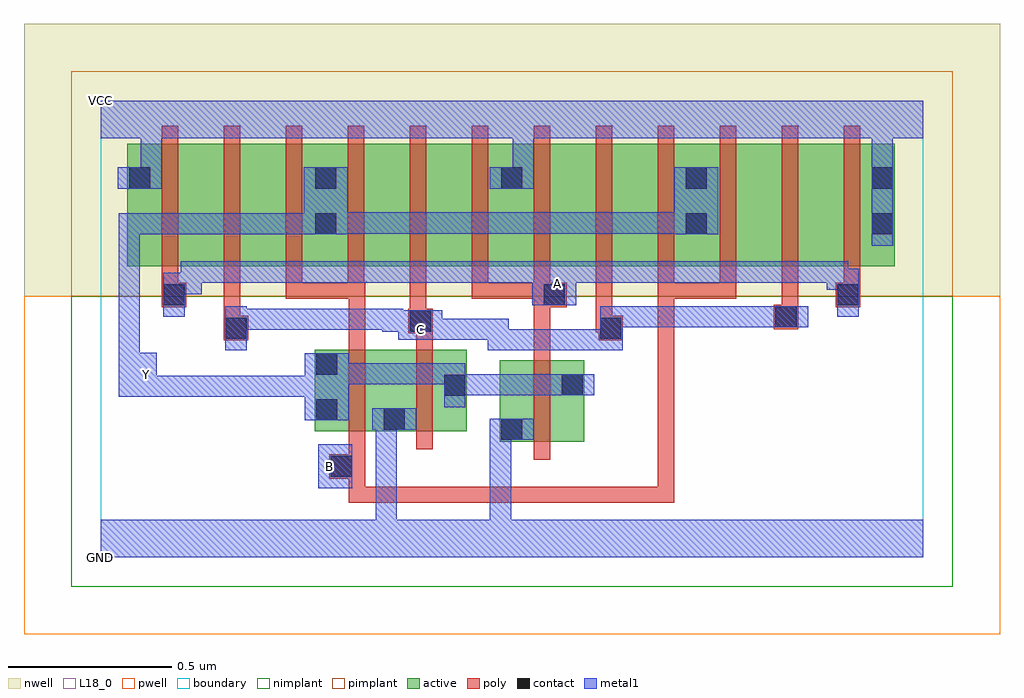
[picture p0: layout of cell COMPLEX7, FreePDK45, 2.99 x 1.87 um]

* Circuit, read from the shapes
.subckt COMPLEX7 A B C GND VCC Y
M1 GND B Y VSUBS nfet w=0.25u l=0.05u
M2 Y C GND VSUBS nfet w=0.25u l=0.05u
M3 Y A GND VSUBS nfet w=0.25u l=0.05u
M4 n1 A VCC n2 pfet w=0.375u l=0.05u
M5 n3 C n1 n2 pfet w=0.375u l=0.05u
M6 Y B n3 n2 pfet w=0.375u l=0.05u
M7 n4 B Y n2 pfet w=0.375u l=0.05u
M8 n5 C n4 n2 pfet w=0.375u l=0.05u
M9 VCC A n5 n2 pfet w=0.375u l=0.05u
M10 n6 A VCC n2 pfet w=0.375u l=0.05u
M11 n7 C n6 n2 pfet w=0.375u l=0.05u
M12 Y B n7 n2 pfet w=0.375u l=0.05u
M13 n8 B Y n2 pfet w=0.375u l=0.05u
M14 n9 C n8 n2 pfet w=0.375u l=0.05u
M15 VCC A n9 n2 pfet w=0.375u l=0.05u
.ends

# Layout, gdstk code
import gdstk
lib = gdstk.Library(unit=1e-6, precision=1e-09)
def R(c, l, rs):  # rectangles x0, y0, x1, y1
    for r in rs: c.add(gdstk.rectangle(r[:2], r[2:], *l))
def A(c, l, x, y, w, h, nx, ny, dx, dy):  # array of equal rectangles
    R(c, l, [(x+i*dx, y+j*dy, x+i*dx+w, y+j*dy+h) for i in range(nx) for j in range(ny)])
active = (1, 0)
pwell = (2, 0)
nwell = (3, 0)
nimplant = (4, 0)
pimplant = (5, 0)
poly = (9, 0)
contact = (10, 0)
metal1 = (11, 0)
L18_0 = (18, 0)
boundary = (235, 0)

complex7 = lib.new_cell('COMPLEX7')
A(complex7, active, 0.082, 0.892, 0.225, 0.375, 3, 1, 0.57, 0)
A(complex7, active, 0.307, 0.892, 0.19, 0.375, 4, 1, 0.57, 0)
R(complex7, active, [(1.222,0.355,1.482,0.605), (1.222,0.355,1.297,0.495), (0.655,0.387,0.73,0.637), (0.655,0.387,0.937,0.637), (0.862,0.387,1.122,0.637), (0.862,0.387,0.937,0.57), (1.047,0.387,1.122,0.637), (1.407,0.395,1.482,0.605), (0.082,0.892,0.157,1.267), (0.497,0.892,0.727,1.267), (1.067,0.892,1.297,1.267), (1.637,0.892,1.862,1.267), (1.787,0.892,2.017,1.267), (2.207,0.892,2.432,1.267), (2.357,0.892,2.432,1.267), (0.652,0.932,0.727,1.2), (1.222,0.932,1.297,1.267), (1.787,0.932,1.862,1.2)])
R(complex7, pwell, [(-0.235,-0.235,2.755,0.8)])
R(complex7, nwell, [(-0.235,0.8,2.755,1.635)])
R(complex7, nimplant, [(-0.09,-0.09,2.61,0.8)])
R(complex7, pimplant, [(-0.09,0.8,2.61,1.49)])
A(complex7, poly, 0.567, 0.792, 0.24, 0.05, 3, 1, 0.57, 0)
A(complex7, poly, 0.187, 0.837, 0.05, 0.485, 12, 1, 0.19, 0)
R(complex7, poly, [(0.76,0.167,1.017,0.217), (0.76,0.167,0.81,0.292), (0.967,0.167,1.017,0.217), (0.967,0.167,1.017,0.217), (0.967,0.167,1.017,0.217), (0.967,0.167,1.15,0.217), (1.1,0.167,1.15,0.217), (1.1,0.167,1.15,0.217), (1.1,0.167,1.15,0.217), (1.1,0.167,1.32,0.217), (1.27,0.167,1.32,0.217), (1.27,0.167,1.32,0.217), (1.27,0.167,1.32,0.217), (1.27,0.167,1.625,0.217), (1.575,0.167,1.625,0.217), (1.575,0.167,1.625,0.217), (1.575,0.167,1.625,0.217), (1.575,0.167,1.625,0.217), (1.575,0.167,1.625,0.217), (1.575,0.167,1.757,0.217), (1.707,0.167,1.757,0.217), (1.707,0.167,1.757,0.217), (1.707,0.167,1.757,0.217), (1.707,0.167,1.757,0.842), (0.7,0.242,0.81,0.317), (0.76,0.242,0.81,0.292), (0.76,0.267,0.81,0.382), (1.327,0.3,1.377,0.66), (0.76,0.332,0.81,0.692), (0.967,0.332,1.017,0.692), (1.327,0.61,1.377,0.817), (0.76,0.642,0.81,0.842), (0.967,0.642,1.017,0.737), (0.377,0.665,0.452,0.74), (1.525,0.665,1.6,0.74), (0.942,0.687,1.017,0.762), (0.377,0.69,0.427,0.74), (0.377,0.69,0.427,0.74), (0.377,0.69,0.427,0.887), (1.517,0.69,1.567,0.887), (1.517,0.69,1.575,0.74), (1.525,0.69,1.575,0.74), (2.062,0.7,2.137,0.775), (0.947,0.712,0.997,0.762), (0.947,0.712,0.997,0.762), (0.947,0.712,0.997,0.887), (2.087,0.725,2.137,0.887), (2.087,0.725,2.137,0.775), (2.087,0.725,2.137,0.775), (0.187,0.767,0.262,0.842), (1.327,0.767,1.377,0.817), (1.327,0.767,1.377,0.817), (1.327,0.767,1.427,0.842), (2.252,0.767,2.327,0.842), (0.187,0.792,0.237,0.887), (0.567,0.792,0.617,0.887), (0.567,0.792,0.617,0.842), (0.567,0.792,0.617,0.842), (0.567,0.792,0.617,0.842), (0.757,0.792,0.807,0.887), (0.757,0.792,0.81,0.842), (0.76,0.792,0.81,0.842), (0.76,0.792,0.81,0.842), (1.137,0.792,1.187,0.887), (1.137,0.792,1.187,0.842), (1.137,0.792,1.187,0.842), (1.137,0.792,1.187,0.842), (1.327,0.792,1.377,0.887), (1.707,0.792,1.757,0.887), (1.707,0.792,1.757,0.842), (1.707,0.792,1.757,0.842), (1.707,0.792,1.757,0.842), (1.897,0.792,1.947,0.887), (1.897,0.792,1.947,0.842), (1.897,0.792,1.947,0.842), (1.897,0.792,1.947,0.842), (2.277,0.792,2.327,0.887)])
A(complex7, contact, 0.087, 1.13, 0.065, 0.065, 3, 1, 0.57, 0)
R(complex7, contact, [(0.705,0.247,0.77,0.312), (1.227,0.36,1.292,0.425), (0.867,0.392,0.932,0.457), (0.66,0.42,0.725,0.485), (1.052,0.495,1.117,0.56), (1.412,0.497,1.477,0.562), (0.66,0.56,0.725,0.625), (0.382,0.67,0.447,0.735), (1.53,0.67,1.595,0.735), (0.947,0.692,1.012,0.757), (2.067,0.705,2.132,0.77), (0.192,0.772,0.257,0.837), (1.357,0.772,1.422,0.837), (2.257,0.772,2.322,0.837), (0.657,0.99,0.722,1.055), (1.792,0.99,1.857,1.055), (2.362,0.99,2.427,1.055), (1.792,1.13,1.857,1.195), (2.362,1.13,2.427,1.195)])
R(complex7, metal1, [(0,0,2.52,0.115), (0.842,0.05,0.907,0.115), (0.842,0.05,0.907,0.115), (0.842,0.05,0.907,0.115), (0.842,0.05,0.907,0.115), (0.842,0.05,0.907,0.115), (0.842,0.05,0.907,0.115), (0.842,0.05,0.907,0.457), (1.192,0.05,1.257,0.115), (1.192,0.05,1.257,0.115), (1.192,0.05,1.257,0.115), (1.192,0.05,1.257,0.115), (1.192,0.05,1.257,0.115), (1.192,0.05,1.257,0.115), (1.192,0.05,1.257,0.425), (0.667,0.212,0.77,0.347), (1.192,0.36,1.327,0.425), (0.832,0.392,0.967,0.457), (0.625,0.42,0.76,0.625), (1.052,0.46,1.117,0.595), (0.055,0.492,0.172,0.627), (0.107,0.492,0.172,0.557), (0.107,0.492,0.172,0.557), (0.107,0.492,0.31,0.557), (0.245,0.492,0.447,0.557), (0.245,0.492,0.31,0.557), (0.245,0.492,0.31,0.557), (0.245,0.492,0.31,0.557), (0.382,0.492,0.447,0.557), (0.382,0.492,0.447,0.557), (0.382,0.492,0.447,0.557), (0.382,0.492,0.595,0.557), (0.53,0.492,0.595,0.557), (0.53,0.492,0.69,0.557), (1.052,0.497,1.25,0.562), (1.185,0.497,1.25,0.562), (1.185,0.497,1.27,0.562), (1.205,0.497,1.27,0.562), (1.205,0.497,1.442,0.562), (1.377,0.497,1.442,0.562), (1.377,0.497,1.442,0.562), (1.377,0.497,1.512,0.562), (0.695,0.53,0.76,0.595), (0.695,0.53,0.76,0.595), (0.695,0.53,0.907,0.595), (0.842,0.53,0.907,0.595), (0.842,0.53,0.907,0.595), (0.842,0.53,0.907,0.595), (0.842,0.53,1.117,0.595), (0.055,0.562,0.12,1.055), (0.382,0.635,0.447,0.77), (1.185,0.635,1.255,0.7), (1.185,0.635,1.25,0.732), (1.19,0.635,1.255,0.7), (1.19,0.635,1.407,0.7), (1.342,0.635,1.407,0.7), (1.342,0.635,1.407,0.7), (1.342,0.635,1.407,0.7), (1.342,0.635,1.595,0.7), (1.53,0.635,1.6,0.77), (0.912,0.667,1.047,0.757), (0.982,0.667,1.117,0.732), (1.052,0.667,1.117,0.732), (1.052,0.667,1.25,0.732), (0.862,0.692,0.977,0.757), (0.862,0.692,0.927,0.762), (0.382,0.697,0.447,0.762), (0.382,0.697,0.447,0.762), (0.382,0.697,0.595,0.762), (0.53,0.697,0.595,0.762), (0.53,0.697,0.76,0.762), (0.695,0.697,0.76,0.762), (0.695,0.697,0.76,0.762), (0.695,0.697,0.76,0.762), (0.695,0.697,0.927,0.762), (1.535,0.705,1.6,0.77), (1.535,0.705,1.6,0.77), (1.535,0.705,1.822,0.77), (1.757,0.705,1.822,0.77), (1.757,0.705,1.822,0.77), (1.757,0.705,1.822,0.77), (1.757,0.705,1.96,0.77), (1.895,0.705,2.097,0.77), (1.895,0.705,1.96,0.77), (1.895,0.705,1.96,0.77), (1.895,0.705,1.96,0.77), (2.032,0.705,2.167,0.77), (0.192,0.737,0.257,0.872), (2.257,0.737,2.322,0.885), (1.322,0.772,1.457,0.907), (0.192,0.807,0.31,0.872), (0.245,0.807,0.31,0.907), (2.225,0.82,2.322,0.885), (2.225,0.82,2.29,0.907), (0.245,0.842,0.447,0.907), (0.382,0.842,0.447,0.907), (0.382,0.842,0.447,0.907), (0.382,0.842,0.447,0.907), (0.382,0.842,0.595,0.907), (0.53,0.842,0.595,0.907), (0.53,0.842,0.76,0.907), (0.695,0.842,0.76,0.907), (0.695,0.842,0.76,0.907), (0.695,0.842,0.76,0.907), (0.695,0.842,0.927,0.907), (0.862,0.842,0.927,0.907), (0.862,0.842,1.112,0.907), (1.047,0.842,1.112,0.907), (1.047,0.842,1.112,0.907), (1.047,0.842,1.112,0.907), (1.047,0.842,1.25,0.907), (1.185,0.842,1.25,0.907), (1.185,0.842,1.255,0.907), (1.19,0.842,1.255,0.907), (1.19,0.842,1.387,0.907), (1.392,0.842,1.457,0.907), (1.392,0.842,1.457,0.907), (1.392,0.842,1.66,0.907), (1.595,0.842,1.797,0.907), (1.595,0.842,1.66,0.907), (1.595,0.842,1.66,0.907), (1.595,0.842,1.66,0.907), (1.732,0.842,1.797,0.907), (1.732,0.842,1.797,0.907), (1.732,0.842,1.797,0.907), (1.732,0.842,1.96,0.907), (1.895,0.842,2.097,0.907), (1.895,0.842,1.96,0.907), (1.895,0.842,1.96,0.907), (1.895,0.842,1.96,0.907), (2.032,0.842,2.29,0.907), (2.032,0.842,2.097,0.907), (2.362,0.955,2.427,1.23), (0.055,0.99,0.12,1.055), (0.055,0.99,0.12,1.055), (0.055,0.99,0.12,1.055), (0.055,0.99,0.12,1.055), (0.055,0.99,0.12,1.055), (0.055,0.99,0.31,1.055), (0.245,0.99,0.31,1.055), (0.245,0.99,0.457,1.055), (0.392,0.99,0.457,1.055), (0.392,0.99,0.457,1.055), (0.392,0.99,0.457,1.055), (0.392,0.99,0.595,1.055), (0.53,0.99,0.595,1.055), (0.53,0.99,0.687,1.055), (0.622,0.99,0.757,1.195), (1.757,0.99,1.892,1.195), (0.692,0.992,0.757,1.057), (0.692,0.992,0.757,1.057), (0.692,0.992,0.927,1.057), (0.862,0.992,0.927,1.057), (0.862,0.992,0.927,1.057), (0.862,0.992,0.927,1.057), (0.862,0.992,1.065,1.057), (1,0.992,1.065,1.057), (1,0.992,1.25,1.057), (1.185,0.992,1.25,1.057), (1.185,0.992,1.27,1.057), (1.205,0.992,1.407,1.057), (1.205,0.992,1.27,1.057), (1.342,0.992,1.407,1.057), (1.342,0.992,1.407,1.057), (1.342,0.992,1.407,1.057), (1.342,0.992,1.595,1.057), (1.53,0.992,1.595,1.057), (1.53,0.992,1.595,1.057), (1.53,0.992,1.595,1.057), (1.53,0.992,1.822,1.057), (1.757,0.992,1.822,1.057), (1.757,0.992,1.822,1.057), (0.052,1.13,0.187,1.195), (0.122,1.13,0.187,1.35), (1.192,1.13,1.327,1.195), (1.262,1.13,1.327,1.35), (2.362,1.165,2.427,1.35), (0,1.285,2.52,1.4)])
R(complex7, L18_0, [(0,0,2.52,0.115), (0.842,0.05,0.907,0.115), (0.842,0.05,0.907,0.115), (0.842,0.05,0.907,0.115), (0.842,0.05,0.907,0.115), (0.842,0.05,0.907,0.115), (0.842,0.05,0.907,0.115), (0.842,0.05,0.907,0.457), (1.192,0.05,1.257,0.115), (1.192,0.05,1.257,0.115), (1.192,0.05,1.257,0.115), (1.192,0.05,1.257,0.115), (1.192,0.05,1.257,0.115), (1.192,0.05,1.257,0.115), (1.192,0.05,1.257,0.425), (0.667,0.212,0.77,0.347), (0.667,0.247,0.732,0.312), (1.192,0.36,1.327,0.425), (0.832,0.392,0.967,0.457), (0.625,0.42,0.76,0.625), (1.052,0.46,1.117,0.595), (0.055,0.492,0.172,0.627), (0.107,0.492,0.172,0.557), (0.107,0.492,0.172,0.557), (0.107,0.492,0.31,0.557), (0.245,0.492,0.31,0.557), (0.245,0.492,0.31,0.557), (0.245,0.492,0.31,0.557), (0.245,0.492,0.447,0.557), (0.382,0.492,0.447,0.557), (0.382,0.492,0.447,0.557), (0.382,0.492,0.447,0.557), (0.382,0.492,0.595,0.557), (0.53,0.492,0.595,0.557), (0.53,0.492,0.69,0.557), (1.052,0.497,1.25,0.562), (1.185,0.497,1.25,0.562), (1.185,0.497,1.27,0.562), (1.205,0.497,1.27,0.562), (1.205,0.497,1.442,0.562), (1.377,0.497,1.442,0.562), (1.377,0.497,1.442,0.562), (1.377,0.497,1.512,0.562), (0.107,0.527,0.172,0.592), (0.695,0.53,0.76,0.595), (0.695,0.53,0.76,0.595), (0.695,0.53,0.907,0.595), (0.842,0.53,0.907,0.595), (0.842,0.53,0.907,0.595), (0.842,0.53,0.907,0.595), (0.842,0.53,1.117,0.595), (0.055,0.562,0.12,1.055), (0.382,0.635,0.447,0.77), (1.185,0.635,1.25,0.732), (1.185,0.635,1.255,0.7), (1.19,0.635,1.255,0.7), (1.19,0.635,1.407,0.7), (1.342,0.635,1.407,0.7), (1.342,0.635,1.407,0.7), (1.342,0.635,1.407,0.7), (1.342,0.635,1.595,0.7), (1.53,0.635,1.6,0.77), (0.912,0.667,1.047,0.757), (0.947,0.667,1.012,0.732), (0.982,0.667,1.117,0.732), (1.052,0.667,1.117,0.732), (1.052,0.667,1.25,0.732), (0.862,0.692,0.927,0.762), (0.862,0.692,0.977,0.757), (0.382,0.697,0.447,0.762), (0.382,0.697,0.447,0.762), (0.382,0.697,0.595,0.762), (0.53,0.697,0.595,0.762), (0.53,0.697,0.76,0.762), (0.695,0.697,0.76,0.762), (0.695,0.697,0.76,0.762), (0.695,0.697,0.76,0.762), (0.695,0.697,0.927,0.762), (1.535,0.705,1.6,0.77), (1.535,0.705,1.6,0.77), (1.535,0.705,1.822,0.77), (1.757,0.705,1.822,0.77), (1.757,0.705,1.822,0.77), (1.757,0.705,1.822,0.77), (1.757,0.705,1.96,0.77), (1.895,0.705,1.96,0.77), (1.895,0.705,1.96,0.77), (1.895,0.705,1.96,0.77), (1.895,0.705,2.097,0.77), (2.032,0.705,2.167,0.77), (0.192,0.737,0.257,0.872), (2.257,0.737,2.322,0.885), (1.322,0.772,1.457,0.907), (0.192,0.807,0.31,0.872), (0.245,0.807,0.31,0.907), (1.367,0.807,1.432,0.872), (2.225,0.82,2.29,0.907), (2.225,0.82,2.322,0.885), (0.245,0.842,0.447,0.907), (0.382,0.842,0.447,0.907), (0.382,0.842,0.447,0.907), (0.382,0.842,0.447,0.907), (0.382,0.842,0.595,0.907), (0.53,0.842,0.595,0.907), (0.53,0.842,0.76,0.907), (0.695,0.842,0.76,0.907), (0.695,0.842,0.76,0.907), (0.695,0.842,0.76,0.907), (0.695,0.842,0.927,0.907), (0.862,0.842,0.927,0.907), (0.862,0.842,1.112,0.907), (1.047,0.842,1.112,0.907), (1.047,0.842,1.112,0.907), (1.047,0.842,1.112,0.907), (1.047,0.842,1.25,0.907), (1.185,0.842,1.25,0.907), (1.185,0.842,1.255,0.907), (1.19,0.842,1.255,0.907), (1.19,0.842,1.387,0.907), (1.392,0.842,1.457,0.907), (1.392,0.842,1.457,0.907), (1.392,0.842,1.66,0.907), (1.595,0.842,1.66,0.907), (1.595,0.842,1.66,0.907), (1.595,0.842,1.66,0.907), (1.595,0.842,1.797,0.907), (1.732,0.842,1.797,0.907), (1.732,0.842,1.797,0.907), (1.732,0.842,1.797,0.907), (1.732,0.842,1.96,0.907), (1.895,0.842,1.96,0.907), (1.895,0.842,1.96,0.907), (1.895,0.842,1.96,0.907), (1.895,0.842,2.097,0.907), (2.032,0.842,2.097,0.907), (2.032,0.842,2.29,0.907), (2.362,0.955,2.427,1.23), (0.055,0.99,0.12,1.055), (0.055,0.99,0.12,1.055), (0.055,0.99,0.12,1.055), (0.055,0.99,0.12,1.055), (0.055,0.99,0.12,1.055), (0.055,0.99,0.31,1.055), (0.245,0.99,0.31,1.055), (0.245,0.99,0.457,1.055), (0.392,0.99,0.457,1.055), (0.392,0.99,0.457,1.055), (0.392,0.99,0.457,1.055), (0.392,0.99,0.595,1.055), (0.53,0.99,0.595,1.055), (0.53,0.99,0.687,1.055), (0.622,0.99,0.757,1.195), (1.757,0.99,1.892,1.195), (0.692,0.992,0.757,1.057), (0.692,0.992,0.757,1.057), (0.692,0.992,0.927,1.057), (0.862,0.992,0.927,1.057), (0.862,0.992,0.927,1.057), (0.862,0.992,0.927,1.057), (0.862,0.992,1.065,1.057), (1,0.992,1.065,1.057), (1,0.992,1.25,1.057), (1.185,0.992,1.25,1.057), (1.185,0.992,1.27,1.057), (1.205,0.992,1.27,1.057), (1.205,0.992,1.407,1.057), (1.342,0.992,1.407,1.057), (1.342,0.992,1.407,1.057), (1.342,0.992,1.407,1.057), (1.342,0.992,1.595,1.057), (1.53,0.992,1.595,1.057), (1.53,0.992,1.595,1.057), (1.53,0.992,1.595,1.057), (1.53,0.992,1.822,1.057), (1.757,0.992,1.822,1.057), (1.757,0.992,1.822,1.057), (0.052,1.13,0.187,1.195), (0.122,1.13,0.187,1.35), (1.192,1.13,1.327,1.195), (1.262,1.13,1.327,1.35), (2.362,1.165,2.427,1.35), (0,1.285,2.52,1.4)])
R(complex7, boundary, [(0,0,2.52,1.4)])
complex7.add(gdstk.Label('A', (1.4,0.84), layer=11, texttype=0))
complex7.add(gdstk.Label('B', (0.7,0.28), layer=11, texttype=0))
complex7.add(gdstk.Label('C', (0.98,0.7), layer=11, texttype=0))
complex7.add(gdstk.Label('Y', (0.14,0.56), layer=11, texttype=0))
complex7.add(gdstk.Label('VCC', (0,1.4), layer=11, texttype=0))
complex7.add(gdstk.Label('GND', (0,0), layer=11, texttype=0))

lib.write_gds('COMPLEX7.gds')
